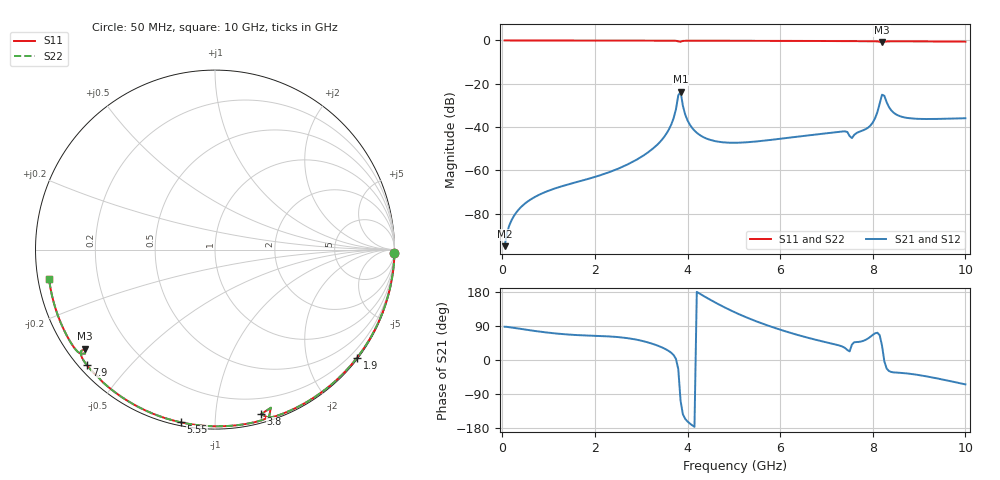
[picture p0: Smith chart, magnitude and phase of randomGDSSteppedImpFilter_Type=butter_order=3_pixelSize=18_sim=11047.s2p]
! freq	dB(S11)	phase(S11)	dB(S12)	phase(S12)
!  dB(S21)	phase(S21)	dB(S22)	phase(S22)
!S-par simulation data
#  GHz  S  DB  R 50
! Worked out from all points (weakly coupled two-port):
!   200 points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, 50 MHz to 10 GHz, reference 50 ohm
!   highest |S21| = -23.70 dB at 3.85 GHz (marker M1); lowest = -95.0 dB at 50 MHz (marker M2)
!   lowest |S11| = -0.8 dB at 8.2 GHz (marker M3), VSWR 21.58, Z = 2.58 - j16.9 ohm
!   |S11| at or under -10 dB: nowhere
!   |S22| runs from -0.8 to 0.0 dB; largest |S21 - S12| = 0
!   S11 on the Smith chart (normalised r, x): 50 MHz: open; 1.9 GHz: 0.03, -2.97; 3.8 GHz: 0.07, -1.32; 5.55 GHz: 0.02, -0.82; 7.9 GHz: 0.02, -0.38; 10 GHz: 0.03, -0.09
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0.05  -0.00 -1.0  -94.99 87.8  -94.99 87.8  -0.00 -1.0
0.9  -0.02 -17.9  -70.24 73.5  -70.24 73.5  -0.02 -17.9
1.75  -0.04 -34.4  -64.55 65.0  -64.55 65.0  -0.04 -34.4
1.9  -0.05 -37.2  -63.65 64.3  -63.65 64.3  -0.05 -37.2
2.8  -0.07 -54.1  -56.24 55.8  -56.24 55.8  -0.07 -54.1
3.4  -0.09 -65.1  -46.99 35.7  -46.99 35.7  -0.09 -65.1
3.65  -0.11 -70.0  -38.74 18.9  -38.74 18.9  -0.11 -70.0
3.8  -0.43 -74.4  -25.37 -23.9  -25.37 -23.9  -0.43 -74.4
3.85  -0.59 -70.5  -23.70 -107.9  -23.70 -107.9  -0.59 -70.5
3.95  -0.14 -73.5  -34.25 -155.4  -34.25 -155.4  -0.14 -73.5
4.2  -0.12 -78.5  -42.63 179.8  -42.63 179.8  -0.12 -78.5
5.05  -0.14 -93.0  -47.24 124.2  -47.24 124.2  -0.14 -93.0
5.55  -0.17 -101.2  -46.50 99.1  -46.50 99.1  -0.17 -101.2
6.7  -0.23 -119.4  -43.61 55.5  -43.61 55.5  -0.23 -119.4
7.4  -0.29 -130.3  -41.98 31.9  -41.98 31.9  -0.29 -130.3
7.55  -0.32 -132.6  -45.09 40.7  -45.09 40.7  -0.32 -132.6
7.9  -0.35 -138.1  -40.24 57.0  -40.24 57.0  -0.35 -138.1
8.05  -0.40 -140.8  -35.92 70.5  -35.92 70.5  -0.40 -140.8
8.2  -0.81 -142.7  -25.04 37.5  -25.04 37.5  -0.81 -142.7
8.35  -0.41 -143.4  -30.77 -29.2  -30.77 -29.2  -0.41 -143.4
8.75  -0.41 -150.3  -35.80 -35.6  -35.80 -35.6  -0.41 -150.3
10  -0.55 -170.0  -35.92 -64.4  -35.92 -64.4  -0.55 -170.0
